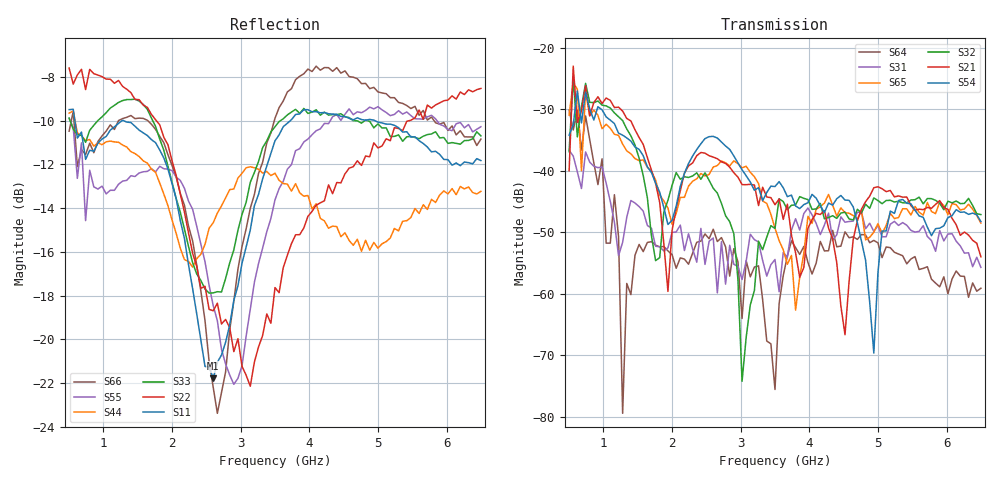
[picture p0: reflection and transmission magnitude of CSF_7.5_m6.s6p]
!Keysight Technologies,M9804A,MY58100912,A.14.10.03
!Date: Thursday, April 27, 2023 10:28:33
!Correction: S11(C  6-Port  )
!S12(C  6-Port  )
!S13(C  6-Port  )
!S14(C  6-Port  )
!S15(C  6-Port  )
!S16(C  6-Port  )
!S21(C  6-Port  )
!S22(C  6-Port  )
!S23(C  6-Port  )
!S24(C  6-Port  )
!S25(C  6-Port  )
!S26(C  6-Port  )
!S31(C  6-Port  )
!S32(C  6-Port  )
!S33(C  6-Port  )
!S34(C  6-Port  )
!S35(C  6-Port  )
!S36(C  6-Port  )
!S41(C  6-Port  )
!S42(C  6-Port  )
!S43(C  6-Port  )
!S44(C  6-Port  )
!S45(C  6-Port  )
!S46(C  6-Port  )
!S51(C  6-Port  )
!S52(C  6-Port  )
!S53(C  6-Port  )
!S54(C  6-Port  )
!S55(C  6-Port  )
!S56(C  6-Port  )
!S61(C  6-Port  )
!S62(C  6-Port  )
!S63(C  6-Port  )
!S64(C  6-Port  )
!S65(C  6-Port  )
!S66(C  6-Port  )
!S6P File: Measurement: :
# Hz S  RI  R 50
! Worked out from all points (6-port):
!   101 points, 500 MHz to 6.5 GHz, reference 50 ohm
!   strongest paths, dB at 500 MHz, 2 GHz, 3.5 GHz, 5 GHz, 6.5 GHz:
!     S54: -34.2, -48.0, -42.5, -56.6, -48.2
!     S21: -40.0, -49.7, -45.5, -42.6, -54.0
!     S32: -36.9, -42.3, -49.4, -44.8, -47.1
!     S65: -30.9, -48.7, -49.3, -48.6, -48.5
!     S31: -36.6, -50.0, -54.4, -48.9, -55.7
!     S64: -30.1, -53.6, -75.6, -51.7, -59.1
!   lowest |S11| = -21.8 dB at 2.6 GHz (marker M1), VSWR 1.18, Z = 42.7 + j1.97 ohm
!   |S11| at or under -10 dB: 583.8 MHz to 1.271 GHz (686.7 MHz wide, 74.1 % of centre); 1.296 GHz to 3.722 GHz (2.426 GHz wide, 96.7 % of centre); 4.958 GHz to end of sweep
